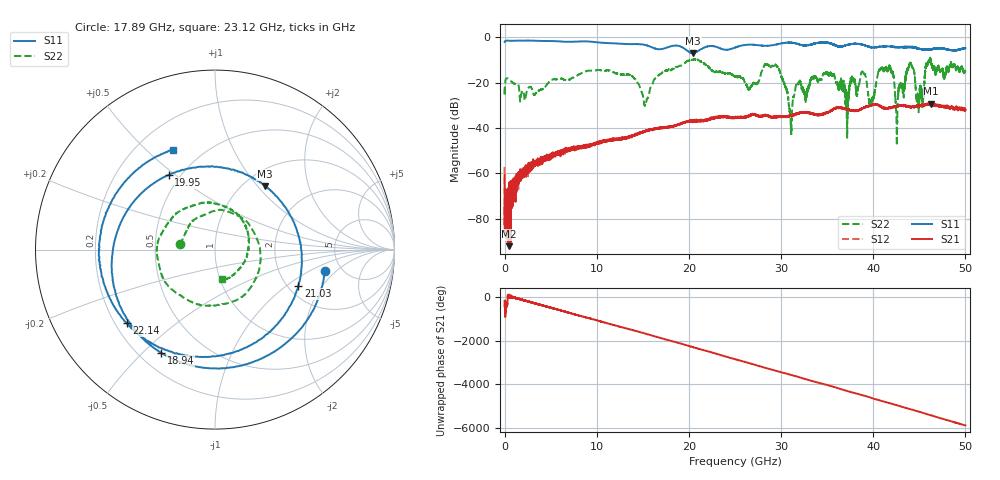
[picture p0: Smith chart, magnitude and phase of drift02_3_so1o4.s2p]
!Created with skrf (http://scikit-rf.org).
# Hz S RI R 50.0
!freq ReS11 ImS11 ReS21 ImS21 ReS12 ImS12 ReS22 ImS22
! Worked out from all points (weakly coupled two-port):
!   10001 points, 300 kHz to 50 GHz, reference 50 ohm
!   highest |S21| = -29.19 dB at 46.3 GHz (marker M1); lowest = -92.1 dB at 500.3 MHz (marker M2)
!   lowest |S11| = -6.9 dB at 20.45 GHz (marker M3), VSWR 2.64, Z = 61.8 + j54.8 ohm
!   |S11| at or under -10 dB: nowhere
!   |S22| runs from -47.8 to -8.9 dB; largest |S21 - S12| = 0.0033
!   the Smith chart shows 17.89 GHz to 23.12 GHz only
!   S11 on the Smith chart (normalised r, x): 17.89 GHz: 3.70, -1.45; 18.94 GHz: 0.29, -0.57; 19.95 GHz: 0.43, +0.47; 21.03 GHz: 2.27, -1.23; 22.14 GHz: 0.25, -0.34; 23.12 GHz: 0.35, +0.61
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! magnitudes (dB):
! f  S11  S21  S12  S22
! 300 kHz  -2.1  -60.7  -57.2  -22.1
! 500.3 MHz  -1.5  -92.1  -72.7  -18.6
! 8.335 GHz  -1.7  -48.8  -48.4  -15.8
! 15.3 GHz  -3.4  -41.4  -41.4  -29.6
! 16.67 GHz  -5.2  -40.0  -40.1  -16.8
! 17.89 GHz  -4.1  -39.7  -39.3  -14.2
! 18.94 GHz  -3.8  -38.4  -38.4  -12.6
! 19.95 GHz  -6.2  -36.9  -36.9  -10.3
! 20.45 GHz  -6.9  -36.8  -36.8  -9.9
! 21.03 GHz  -5.9  -36.8  -36.8  -9.9
! 22.14 GHz  -3.9  -36.3  -36.2  -13.0
! 23.12 GHz  -4.4  -35.1  -35.3  -15.4
! 25 GHz  -4.5  -35.5  -35.4  -17.1
! 29.5 GHz  -3.1  -35.0  -35.0  -12.5
! 31.03 GHz  -2.3  -34.4  -34.6  -36.6
! 33.34 GHz  -3.0  -33.4  -33.5  -17.8
! 38.92 GHz  -3.3  -31.1  -31.1  -15.8
! 39.76 GHz  -4.4  -30.0  -30.0  -27.6
! 41.67 GHz  -4.0  -31.1  -31.2  -13.5
! 42.56 GHz  -4.3  -30.4  -30.3  -44.8
! 46.3 GHz  -5.2  -29.2  -29.4  -11.2
! 50 GHz  -4.7  -32.0  -31.8  -14.9
